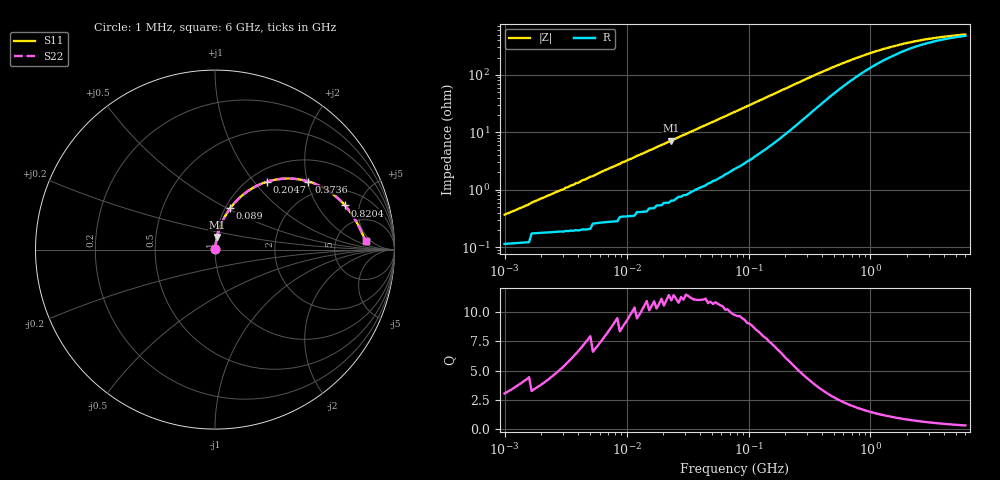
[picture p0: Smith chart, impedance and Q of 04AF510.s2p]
# MHz S MA R 50
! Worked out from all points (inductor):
!   189 points, 1 MHz to 6 GHz, reference 50 ohm
!   read as one part in series: L = 55.4 nH near 1 MHz
!   highest Q = 11.5 at 23.26 MHz (marker M1), where L = 48.9 nH
!   S11 on the Smith chart (normalised r, x): 1 MHz: 1.00, +0.01; 89 MHz: 1.05, +0.52; 204.7 MHz: 1.19, +1.16; 373.6 MHz: 1.57, +2.03; 820.4 MHz: 3.04, +3.60; 6 GHz: 10, +3
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1  0.003733 69.5  0.999 -0.2  0.999 -0.2  0.003733 69.5
3.036  0.01 79.2  0.998 -0.6  0.998 -0.6  0.01 79.2
3.18  0.011 79.4  0.998 -0.6  0.998 -0.6  0.011 79.4
3.826  0.013 80.2  0.998 -0.7  0.998 -0.7  0.013 80.2
4.008  0.013 80.4  0.998 -0.8  0.998 -0.8  0.013 80.4
4.396  0.015 80.7  0.998 -0.8  0.998 -0.8  0.015 80.7
5.29  0.017 81.3  0.997 -1.0  0.997 -1.0  0.017 81.3
6.667  0.022 81.7  0.997 -1.2  0.997 -1.2  0.022 81.7
18.454  0.057 81.5  0.993 -3.3  0.993 -3.3  0.057 81.5
23.258  0.071 80.8  0.991 -4.1  0.991 -4.1  0.071 80.8
46.56  0.136 77.0  0.978 -7.8  0.978 -7.8  0.136 77.0
77.46  0.217 71.7  0.954 -12.5  0.954 -12.5  0.217 71.7
88.995  0.246 69.8  0.944 -14.1  0.944 -14.1  0.246 69.8
141.361  0.362 61.5  0.887 -21.1  0.887 -21.1  0.362 61.5
204.693  0.474 52.7  0.806 -27.9  0.806 -27.9  0.474 52.7
340.538  0.622 38.6  0.644 -37.1  0.644 -37.1  0.622 38.6
373.558  0.644 36.1  0.611 -38.4  0.611 -38.4  0.644 36.1
540.917  0.715 26.9  0.485 -41.7  0.485 -41.7  0.715 26.9
820.351  0.765 18.8  0.37 -41.7  0.37 -41.7  0.765 18.8
1429.415  0.802 11.4  0.267 -36.6  0.267 -36.6  0.802 11.4
2608.635  0.823 6.6  0.205 -27.6  0.205 -27.6  0.823 6.6
6000  0.84 3.1  0.167 -15.7  0.167 -15.7  0.84 3.1
